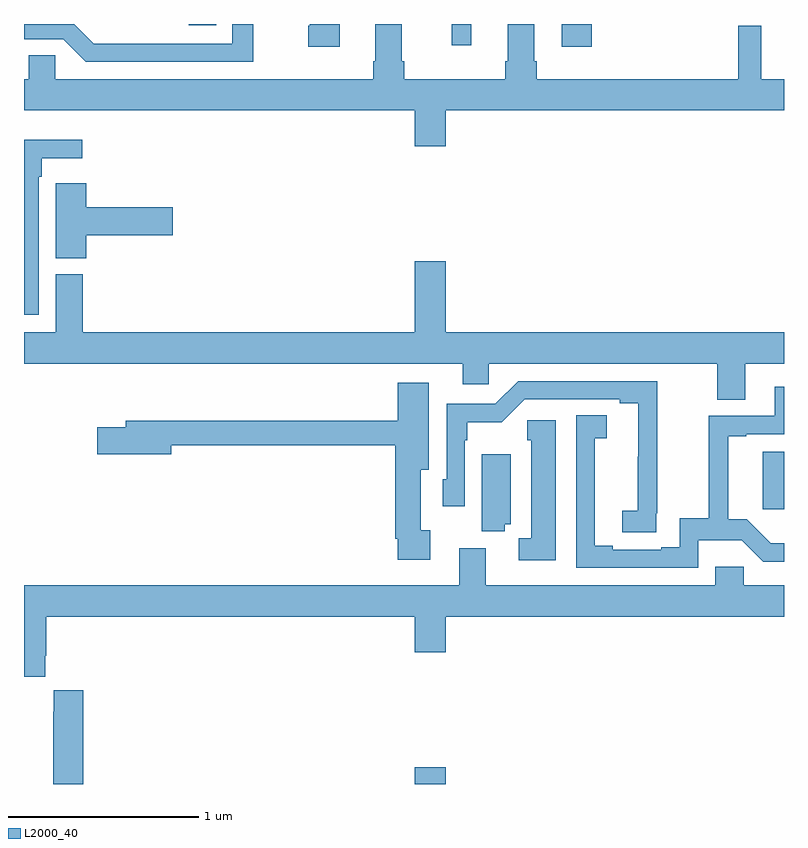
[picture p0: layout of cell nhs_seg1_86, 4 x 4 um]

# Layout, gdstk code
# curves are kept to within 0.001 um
import gdstk
lib = gdstk.Library(unit=1e-6, precision=1e-09)
def R(c, l, rs):  # rectangles x0, y0, x1, y1
    for r in rs: c.add(gdstk.rectangle(r[:2], r[2:], *l))
def P(c, l, *ps):  # polygons
    for p in ps: c.add(gdstk.Polygon(p, *l))
L2000_40 = (2000, 40)

nhs_seg1_86 = lib.new_cell('nhs_seg1_86')
R(nhs_seg1_86, L2000_40, [(117.056,536.199,117.22,536.287), (118.889,537.644,119,537.949), (117.83,540.078,117.989,540.199), (117.25,540.087,117.353,540.199), (115.866,540.192,116.012,540.199)])
P(nhs_seg1_86, L2000_40, [(117.22,539.744),(119,539.744),(119,539.908),(118.879,539.908),(118.879,540.19),(118.758,540.19),(118.758,539.908),(117.698,539.908),(117.698,540.004),(117.685,540.004),(117.685,540.199),(117.545,540.199),(117.545,540.004),(117.533,540.004),(117.533,539.908),(117.002,539.908),(117.002,540.004),(116.989,540.004),(116.989,540.199),(116.849,540.199),(116.849,540.004),(116.837,540.004),(116.837,539.908),(115.164,539.908),(115.164,540.035),(115.025,540.035),(115.025,539.908),(115,539.908),(115,539.744),(117.056,539.744),(117.056,539.556),(117.22,539.556)],
  [(116.206,540.199),(116.097,540.199),(116.097,540.096),(115.368,540.096),(115.265,540.199),(115,540.199),(115,540.12),(115.206,540.12),(115.326,540),(116.206,540)],
  [(116.662,540.199),(116.504,540.199),(116.504,540.19),(116.497,540.19),(116.497,540.078),(116.662,540.078)],
  [(115.077,539.396),(115.093,539.396),(115.093,539.492),(115.306,539.492),(115.306,539.59),(115,539.59),(115,538.67),(115.077,538.67)],
  [(115.328,539.087),(115.783,539.087),(115.783,539.234),(115.328,539.234),(115.328,539.362),(115.167,539.362),(115.167,539.249),(115.166,539.249),(115.166,538.966),(115.328,538.966)],
  [(118.795,538.412),(119,538.412),(119,538.576),(117.22,538.576),(117.22,538.951),(117.056,538.951),(117.056,538.576),(115.31,538.576),(115.31,538.881),(115.166,538.881),(115.166,538.576),(115,538.576),(115,538.412),(117.308,538.412),(117.308,538.302),(117.447,538.302),(117.447,538.412),(118.648,538.412),(118.648,538.222),(118.795,538.222)],
  [(118.328,537.625),(118.334,537.625),(118.334,538.32),(117.6,538.32),(117.48,538.2),(117.225,538.2),(117.225,537.804),(117.204,537.804),(117.204,537.66),(117.321,537.66),(117.321,538.007),(117.334,538.007),(117.334,538.103),(117.515,538.103),(117.636,538.224),(118.136,538.224),(118.136,538.204),(118.232,538.204),(118.231,537.638),(118.149,537.638),(118.149,537.523),(118.328,537.523)],
  [(117.139,537.534),(117.088,537.534),(117.088,537.854),(117.13,537.854),(117.13,538.312),(116.966,538.312),(116.966,538.111),(115.535,538.111),(115.535,538.077),(115.386,538.077),(115.386,537.935),(115.774,537.935),(115.774,537.982),(116.954,537.982),(116.954,537.49),(116.966,537.49),(116.966,537.378),(117.139,537.378)],
  [(118.548,537.482),(118.777,537.482),(118.89,537.369),(119,537.369),(119,537.466),(118.931,537.466),(118.805,537.592),(118.706,537.592),(118.706,538.029),(118.801,538.029),(118.801,538.041),(119,538.041),(119,538.291),(118.952,538.291),(118.952,538.137),(118.603,538.137),(118.603,537.599),(118.452,537.599),(118.452,537.446),(118.355,537.446),(118.355,537.432),(118.099,537.432),(118.099,537.452),(118.003,537.452),(118.003,537.715),(118.005,537.715),(118.005,538.019),(118.066,538.019),(118.066,538.139),(117.906,538.139),(117.906,537.336),(118.548,537.336)],
  [(117.799,538.114),(117.649,538.114),(117.649,538.008),(117.671,538.008),(117.671,537.492),(117.603,537.492),(117.603,537.377),(117.799,537.377)],
  [(117.53,537.566),(117.562,537.566),(117.562,537.934),(117.41,537.934),(117.41,537.529),(117.53,537.529)],
  [(115.111,536.875),(115.118,536.875),(115.118,537.08),(117.056,537.08),(117.056,536.892),(117.22,536.892),(117.22,537.08),(119,537.08),(119,537.244),(118.789,537.244),(118.789,537.342),(118.637,537.342),(118.637,537.244),(117.43,537.244),(117.43,537.439),(117.29,537.439),(117.29,537.244),(115,537.244),(115,536.763),(115.111,536.763)],
  [(115.313,536.692),(115.157,536.692),(115.157,536.579),(115.153,536.579),(115.153,536.199),(115.313,536.199)])

lib.write_gds('nhs_seg1_86.gds')
